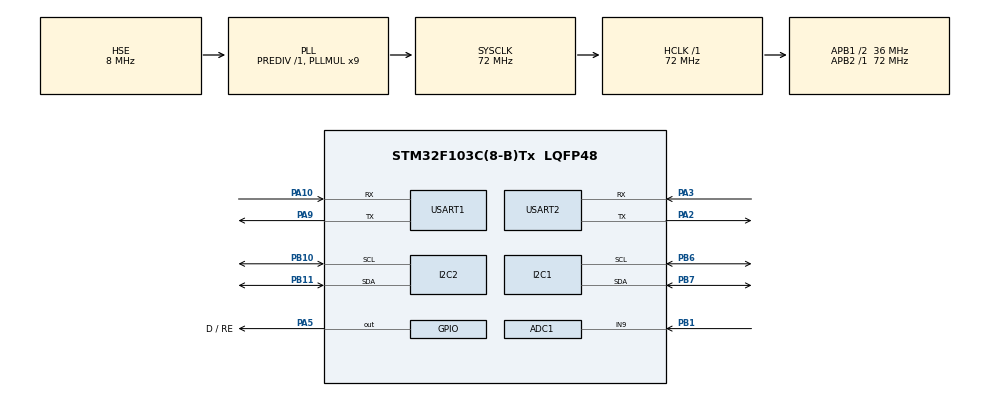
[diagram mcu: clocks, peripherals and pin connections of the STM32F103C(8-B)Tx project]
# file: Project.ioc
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ADC1.Channel-0\#ChannelRegularConversion=ADC_CHANNEL_9
ADC1.NbrOfConversionFlag=1
ADC1.Rank-0\#ChannelRegularConversion=1
ADC1.SamplingTime-0\#ChannelRegularConversion=ADC_SAMPLETIME_1CYCLE_5
ADC1.master=1
Mcu.Family=STM32F1
Mcu.Name=STM32F103C(8-B)Tx
Mcu.Package=LQFP48
NVIC.PriorityGroup=NVIC_PRIORITYGROUP_4
PA10.Mode=Asynchronous
PA10.Signal=USART1_RX
PA13.Mode=Serial_Wire
PA13.Signal=SYS_JTMS-SWDIO
PA14.Mode=Serial_Wire
PA14.Signal=SYS_JTCK-SWCLK
PA2.Mode=Asynchronous
PA2.Signal=USART2_TX
PA3.Mode=Asynchronous
PA3.Signal=USART2_RX
PA5.GPIO_Label=D / RE
PA5.Signal=GPIO_Output
PA9.Mode=Asynchronous
PA9.Signal=USART1_TX
PB1.Signal=ADCx_IN9
PB10.Mode=I2C
PB10.Signal=I2C2_SCL
PB11.Mode=I2C
PB11.Signal=I2C2_SDA
PB6.Mode=I2C
PB6.Signal=I2C1_SCL
PB7.Mode=I2C
PB7.Signal=I2C1_SDA
PD0-OSC_IN.Mode=HSE-External-Oscillator
PD0-OSC_IN.Signal=RCC_OSC_IN
PD1-OSC_OUT.Mode=HSE-External-Oscillator
PD1-OSC_OUT.Signal=RCC_OSC_OUT
ProjectManager.HeapSize=0x200
ProjectManager.StackSize=0x400
ProjectManager.TargetToolchain=CMake
RCC.AHBFreq_Value=72000000
RCC.APB1CLKDivider=RCC_HCLK_DIV2
RCC.APB1Freq_Value=36000000
RCC.APB1TimFreq_Value=72000000
RCC.APB2Freq_Value=72000000
RCC.APB2TimFreq_Value=72000000
RCC.HCLKFreq_Value=72000000
RCC.PLLMUL=RCC_PLL_MUL9
RCC.PLLSourceVirtual=RCC_PLLSOURCE_HSE
RCC.SYSCLKFreq_VALUE=72000000
RCC.SYSCLKSource=RCC_SYSCLKSOURCE_PLLCLK
RCC.USBFreq_Value=72000000
SH.ADCx_IN9.0=ADC1_IN9,IN9
TIM3.Prescaler=71
USART1.VirtualMode=VM_ASYNC
USART2.VirtualMode=VM_ASYNC
VP_TIM3_VS_ClockSourceINT.Mode=Internal
board=custom

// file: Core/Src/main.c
/* USER CODE BEGIN Header */
/**
  ******************************************************************************
  * @file           : main.c
  * @brief          : Main program body
  ******************************************************************************
  * @attention
  *
  * Copyright (c) 2026 STMicroelectronics.
  * All rights reserved.
  *
  * This software is licensed under terms that can be found in the LICENSE file
  * in the root directory of this software component.
  * If no LICENSE file comes with this software, it is provided AS-IS.
  *
  ******************************************************************************
  */
/* USER CODE END Header */
#include "main.h"
#include "adc.h"
#include "i2c.h"
#include "tim.h"
#include "usart.h"
#include "gpio.h"

/* USER CODE BEGIN Includes */
#include "bh1750.h"
#include "oled.h"
#include "i2c.h"
#include "sgp30.h"
#include "dht11.h"
#include "soil_moisture.h"
#include "npk_sensor.h"
/* USER CODE END Includes */

void SystemClock_Config(void);

/* USER CODE BEGIN 0 */
// float     LightData; // 光照强度（小数，单位：lx）
// uint32_t  LightData_Hex; // 光照强度（整数，单位：lx）
/* USER CODE END 0 */

int main(void)
{

  /* MCU Configuration--------------------------------------------------------*/

  /* Reset of all peripherals, Initializes the Flash interface and the Systick. */
  HAL_Init();

  /* Configure the system clock */
  SystemClock_Config();

  /* Initialize all configured peripherals */
  MX_GPIO_Init();
  MX_I2C1_Init();
  MX_I2C2_Init();
  MX_TIM3_Init();
  MX_USART1_UART_Init();
  MX_ADC1_Init();
  MX_USART2_UART_Init();
  /* USER CODE BEGIN 2 */
  // adc callibration
  if (HAL_ADCEx_Calibration_Start(&hadc1)!=HAL_OK) Error_Handler();
  OLED_Init();
  OLED_Clear();

  uint32_t  dat;
  uint16_t  co2Data,TVOCData;
  uint8_t   temperature = 1;  //温度
  uint8_t   humidity = 1;     //湿度
  uint8_t   aTXbuf[32];       //串口发送缓存数组
  float     LightData;
  uint32_t  LightData_Hex;
  BH1750_Init();
  SGP30_Init();
  DHT11_Init();
  /* USER CODE END 2 */

  /* Infinite loop */
  while (1)
  {

    /* USER CODE BEGIN 3 */
    // 调试BH1750光照传感器
    LightData = BH1750_ReadLight();         // 读取光照强度
    LightData_Hex = (uint32_t)LightData;    // float转换成整数

    // 调试SGP30 CO2传感器
    SGP30_ad_write(0x20,0x08);
    dat = SGP30_ad_read();
    co2Data = (dat & 0xffff0000) >> 16;
    TVOCData = dat & 0x0000ffff;

    // 调试DHT11 温湿度传感器
    if (DHT11_Read_Data(&temperature , &humidity) != 0)
    {
      // 读取失败处理，如果注释则为保留旧值
      // temperature  = 0;
      // humidity     = 0;
    };
    // 土壤湿度读取
    uint8_t soil_moisture = Moisture_GetPercentage();
    uint16_t soil_raw_adc = Moisture_GetRawADC();

    // NPK传感器读取
    int16_t npk_N, npk_P, npk_K;
    NPK_StatusTypeDef npk_ret = NPK_ReadNPK(&npk_N, &npk_P, &npk_K);
    if (npk_ret == NPK_OK) {
      // 读取成功，npk_N/npk_P/npk_K 即为氮磷钾值
    } else {
      npk_K = 2048;
      npk_N = 8192;
      npk_P = 248;
      // 错误处理
      switch (npk_ret) {
      case NPK_ERR_TIMEOUT: /* 超时 */ break;
      case NPK_ERR_CRC:     /* CRC错误 */ break;
      case NPK_ERR_FRAME:   /* 帧错误 */ break;
      case NPK_ERR_ADDR:    /* 地址错误 */ break;
      case NPK_ERR_FUNC:    /* 功能码错误 */ break;
      default: break;
      }
    }

    // ====== 帧头 + 长度 ======
    aTXbuf[0] = 0xAA;
    aTXbuf[1] = 0x55;
    aTXbuf[2] = 0x11;  // 17字节数据

    // ====== 光照 (4字节, 小端序) ======
    aTXbuf[3]  = (uint8_t)(LightData_Hex & 0xFF);
    aTXbuf[4]  = (uint8_t)((LightData_Hex >> 8) & 0xFF)819248
    aTXbuf[5]  = (uint8_t)((LightData_Hex >> 16) & 0xFF);
    aTXbuf[6]  = (uint8_t)((LightData_Hex >> 24) & 0xFF);

    // ====== CO2 (2字节) ======
    aTXbuf[7]  = (uint8_t)(co2Data & 0xFF);
    aTXbuf[8]  = (uint8_t)((co2Data >> 8) & 0xFF);

    // ====== TVOC (2字节) ======
    aTXbuf[9]  = (uint8_t)(TVOCData & 0xFF);
    aTXbuf[10] = (uint8_t)((TVOCData >> 8) & 0xFF);

    // ====== 温度、湿度 ======
    aTXbuf[11] = temperature;
    aTXbuf[12] = humidity;

    // ====== 土壤湿度 (1字节) ======
    aTXbuf[13] = (uint8_t)(soil_moisture & 0xFF);

    // ====== N (2字节, int16_t 有符号) ======
    aTXbuf[14] = (uint8_t)(npk_N & 0xFF);
    aTXbuf[15] = (uint8_t)((npk_N >> 8) & 0xFF);

    // ====== P (2字节) ======
    aTXbuf[16] = (uint8_t)(npk_P & 0xFF);
    aTXbuf[17] = (uint8_t)((npk_P >> 8) & 0xFF);

    // ====== K (2字节) ======
    aTXbuf[18] = (uint8_t)(npk_K & 0xFF);
    aTXbuf[19] = (uint8_t)((npk_K >> 8) & 0xFF);

    // ====== 校验和 (帧头 + 长度 + 数据 累加和的低8位) ======
    uint8_t sum = 0;
    for (int i = 0; i < 20; i++) {
      sum += aTXbuf[i];
    }
    aTXbuf[20] = sum;

    // ====== 发送 ======
    HAL_UART_Transmit(&huart1, aTXbuf, 21, HAL_MAX_DELAY);
    HAL_Delay(1000);
  }
  /* USER CODE END 3 */
}

void SystemClock_Config(void)
{
  RCC_OscInitTypeDef RCC_OscInitStruct = {0};
  RCC_ClkInitTypeDef RCC_ClkInitStruct = {0};
  RCC_PeriphCLKInitTypeDef PeriphClkInit = {0};

  /** Initializes the RCC Oscillators according to the specified parameters
  * in the RCC_OscInitTypeDef structure.
  */
  RCC_OscInitStruct.OscillatorType = RCC_OSCILLATORTYPE_HSE;
  RCC_OscInitStruct.HSEState = RCC_HSE_ON;
  RCC_OscInitStruct.HSEPredivValue = RCC_HSE_PREDIV_DIV1;
  RCC_OscInitStruct.HSIState = RCC_HSI_ON;
  RCC_OscInitStruct.PLL.PLLState = RCC_PLL_ON;
  RCC_OscInitStruct.PLL.PLLSource = RCC_PLLSOURCE_HSE;
  RCC_OscInitStruct.PLL.PLLMUL = RCC_PLL_MUL9;
  if (HAL_RCC_OscConfig(&RCC_OscInitStruct) != HAL_OK)
  {
    Error_Handler();
  }

  /** Initializes the CPU, AHB and APB buses clocks
  */
  RCC_ClkInitStruct.ClockType = RCC_CLOCKTYPE_HCLK|RCC_CLOCKTYPE_SYSCLK
                              |RCC_CLOCKTYPE_PCLK1|RCC_CLOCKTYPE_PCLK2;
  RCC_ClkInitStruct.SYSCLKSource = RCC_SYSCLKSOURCE_PLLCLK;
  RCC_ClkInitStruct.AHBCLKDivider = RCC_SYSCLK_DIV1;
  RCC_ClkInitStruct.APB1CLKDivider = RCC_HCLK_DIV2;
  RCC_ClkInitStruct.APB2CLKDivider = RCC_HCLK_DIV1;

  if (HAL_RCC_ClockConfig(&RCC_ClkInitStruct, FLASH_LATENCY_2) != HAL_OK)
  {
    Error_Handler();
  }
  PeriphClkInit.PeriphClockSelection = RCC_PERIPHCLK_ADC;
  PeriphClkInit.AdcClockSelection = RCC_ADCPCLK2_DIV2;
  if (HAL_RCCEx_PeriphCLKConfig(&PeriphClkInit) != HAL_OK)
  {
    Error_Handler();
  }
}

void Error_Handler(void)
{
  __disable_irq();
  while (1)
  {
  }
}
